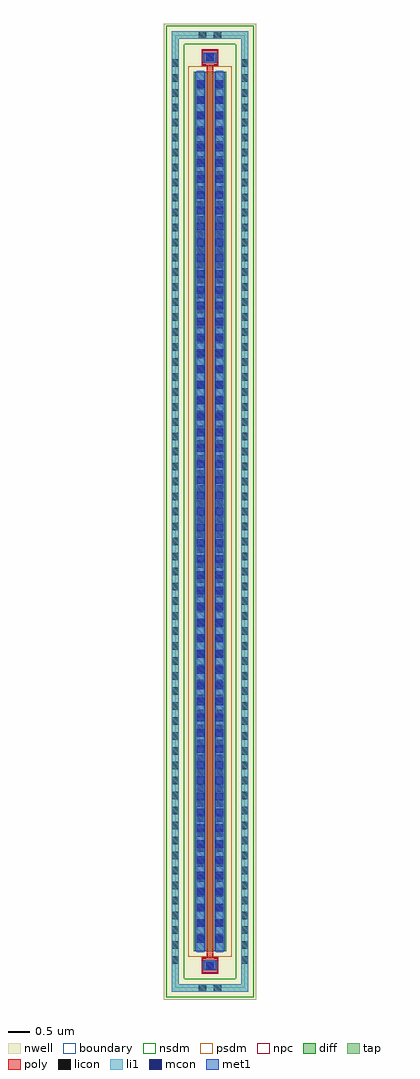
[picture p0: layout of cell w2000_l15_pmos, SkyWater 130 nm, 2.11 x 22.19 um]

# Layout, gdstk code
import gdstk
lib = gdstk.Library(unit=1e-6, precision=1e-09)
def R(c, l, rs):  # rectangles x0, y0, x1, y1
    for r in rs: c.add(gdstk.rectangle(r[:2], r[2:], *l))
def A(c, l, x, y, w, h, nx, ny, dx, dy):  # array of equal rectangles
    R(c, l, [(x+i*dx, y+j*dy, x+i*dx+w, y+j*dy+h) for i in range(nx) for j in range(ny)])
nwell = (64, 20)
diff = (65, 20)
tap = (65, 44)
poly = (66, 20)
licon = (66, 44)
li1 = (67, 20)
mcon = (67, 44)
met1 = (68, 20)
nsdm = (93, 44)
psdm = (94, 20)
npc = (95, 20)
boundary = (235, 4)

sky130_fd_pr__pfet_01v8 = lib.new_cell('sky130_fd_pr__pfet_01v8')

w2000_l15_pmos = lib.new_cell('w2000_l15_pmos')
R(w2000_l15_pmos, nwell, [(-1.055,-11.095,1.055,11.095)])
R(w2000_l15_pmos, diff, [(-0.365,-10,0.365,10)])
R(w2000_l15_pmos, tap, [(-0.875,-10.915,0.875,-10.745), (-0.875,-10.745,-0.705,10.745), (0.705,-10.745,0.875,10.745), (-0.875,10.745,0.875,10.915)])
R(w2000_l15_pmos, poly, [(-0.165,-10.485,0.165,-10.155), (-0.075,-10.155,0.075,10.155), (-0.165,10.155,0.165,10.485)])
A(w2000_l15_pmos, licon, -0.875, -10.285, 0.17, 0.17, 1, 61, 0, 0.34)
A(w2000_l15_pmos, licon, 0.705, -10.285, 0.17, 0.17, 1, 61, 0, 0.34)
A(w2000_l15_pmos, licon, -0.305, -9.775, 0.17, 0.17, 1, 58, 0, 0.34)
A(w2000_l15_pmos, licon, 0.135, -9.775, 0.17, 0.17, 1, 58, 0, 0.34)
R(w2000_l15_pmos, licon, [(-0.255,-10.915,-0.085,-10.745), (0.085,-10.915,0.255,-10.745), (-0.085,-10.405,0.085,-10.235), (-0.085,10.235,0.085,10.405), (-0.255,10.745,-0.085,10.915), (0.085,10.745,0.255,10.915)])
R(w2000_l15_pmos, li1, [(-0.875,-10.915,0.875,-10.745), (-0.875,-10.745,-0.705,10.745), (0.705,-10.745,0.875,10.745), (-0.165,-10.405,0.165,-10.235), (-0.305,-10.02,-0.135,10.02), (0.135,-10.02,0.305,10.02), (-0.165,10.235,0.165,10.405), (-0.875,10.745,0.875,10.915)])
A(w2000_l15_pmos, mcon, -0.305, -9.805, 0.17, 0.17, 1, 55, 0, 0.36)
A(w2000_l15_pmos, mcon, 0.135, -9.805, 0.17, 0.17, 1, 55, 0, 0.36)
R(w2000_l15_pmos, mcon, [(-0.085,-10.405,0.085,-10.235), (-0.085,10.235,0.085,10.405)])
R(w2000_l15_pmos, met1, [(-0.145,-10.435,0.145,-10.205), (-0.335,-10,-0.105,10), (0.105,-10,0.335,10), (-0.145,10.205,0.145,10.435)])
R(w2000_l15_pmos, nsdm, [(-1,-11.04,1,-10.62), (-1,-10.62,-0.58,10.62), (0.58,-10.62,1,10.62), (-1,10.62,1,11.04)])
R(w2000_l15_pmos, psdm, [(-0.49,-10.125,0.49,10.125)])
R(w2000_l15_pmos, npc, [(-0.185,-10.505,0.185,-10.135), (-0.185,10.135,0.185,10.505)])
R(w2000_l15_pmos, boundary, [(-0.79,-10.83,0.79,10.83)])
w2000_l15_pmos.add(gdstk.Reference(sky130_fd_pr__pfet_01v8, (0,0)))

lib.write_gds('w2000_l15_pmos.gds')
